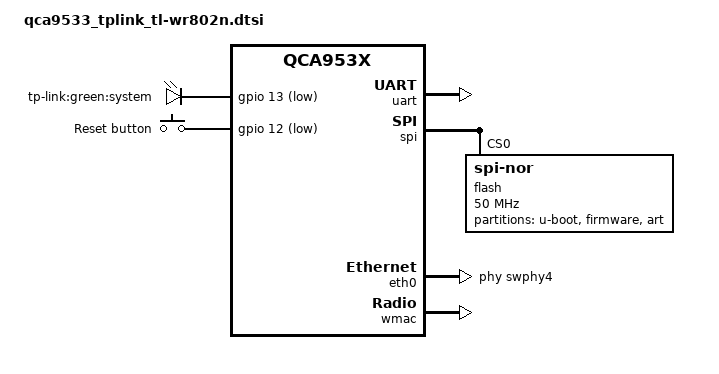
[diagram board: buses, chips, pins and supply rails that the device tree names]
// SPDX-License-Identifier: GPL-2.0-or-later OR MIT

#include "qca953x.dtsi"

#include <dt-bindings/gpio/gpio.h>
#include <dt-bindings/input/input.h>

/ {
	aliases {
		led-boot = &led_system;
		led-failsafe = &led_system;
		led-running = &led_system;
		led-upgrade = &led_system;
		label-mac-device = &wmac;
	};

	leds {
		compatible = "gpio-leds";

		led_system: system {
			label = "tp-link:green:system";
			gpios = <&gpio 13 GPIO_ACTIVE_LOW>;
		};
	};

	keys {
		compatible = "gpio-keys";

		reset {
			label = "Reset button";
			linux,code = <KEY_RESTART>;
			gpios = <&gpio 12 GPIO_ACTIVE_LOW>;
		};
	};
};

&uart {
	status = "okay";
};

&spi {
	status = "okay";

	num-cs = <1>;

	flash@0 {
		compatible = "jedec,spi-nor";
		reg = <0>;
		spi-max-frequency = <50000000>;

		partitions {
			compatible = "fixed-partitions";
			#address-cells = <1>;
			#size-cells = <1>;

			uboot: partition@0 {
				label = "u-boot";
				reg = <0x000000 0x020000>;
				read-only;
			};

			partition@20000 {
				label = "firmware";
				reg = <0x020000 0x3d0000>;
				compatible = "tplink,firmware";
			};

			art: partition@3f0000 {
				label = "art";
				reg = <0x3f0000 0x010000>;
				read-only;
			};
		};
	};
};

&eth0 {
	status = "okay";

	phy-handle = <&swphy4>;

	mtd-mac-address = <&uboot 0x1fc00>;
	mtd-mac-address-increment = <1>;
};

&eth1 {
	compatible = "syscon", "simple-mfd";
};

&wmac {
	status = "okay";

	mtd-cal-data = <&art 0x1000>;
	mtd-mac-address = <&uboot 0x1fc00>;
};
